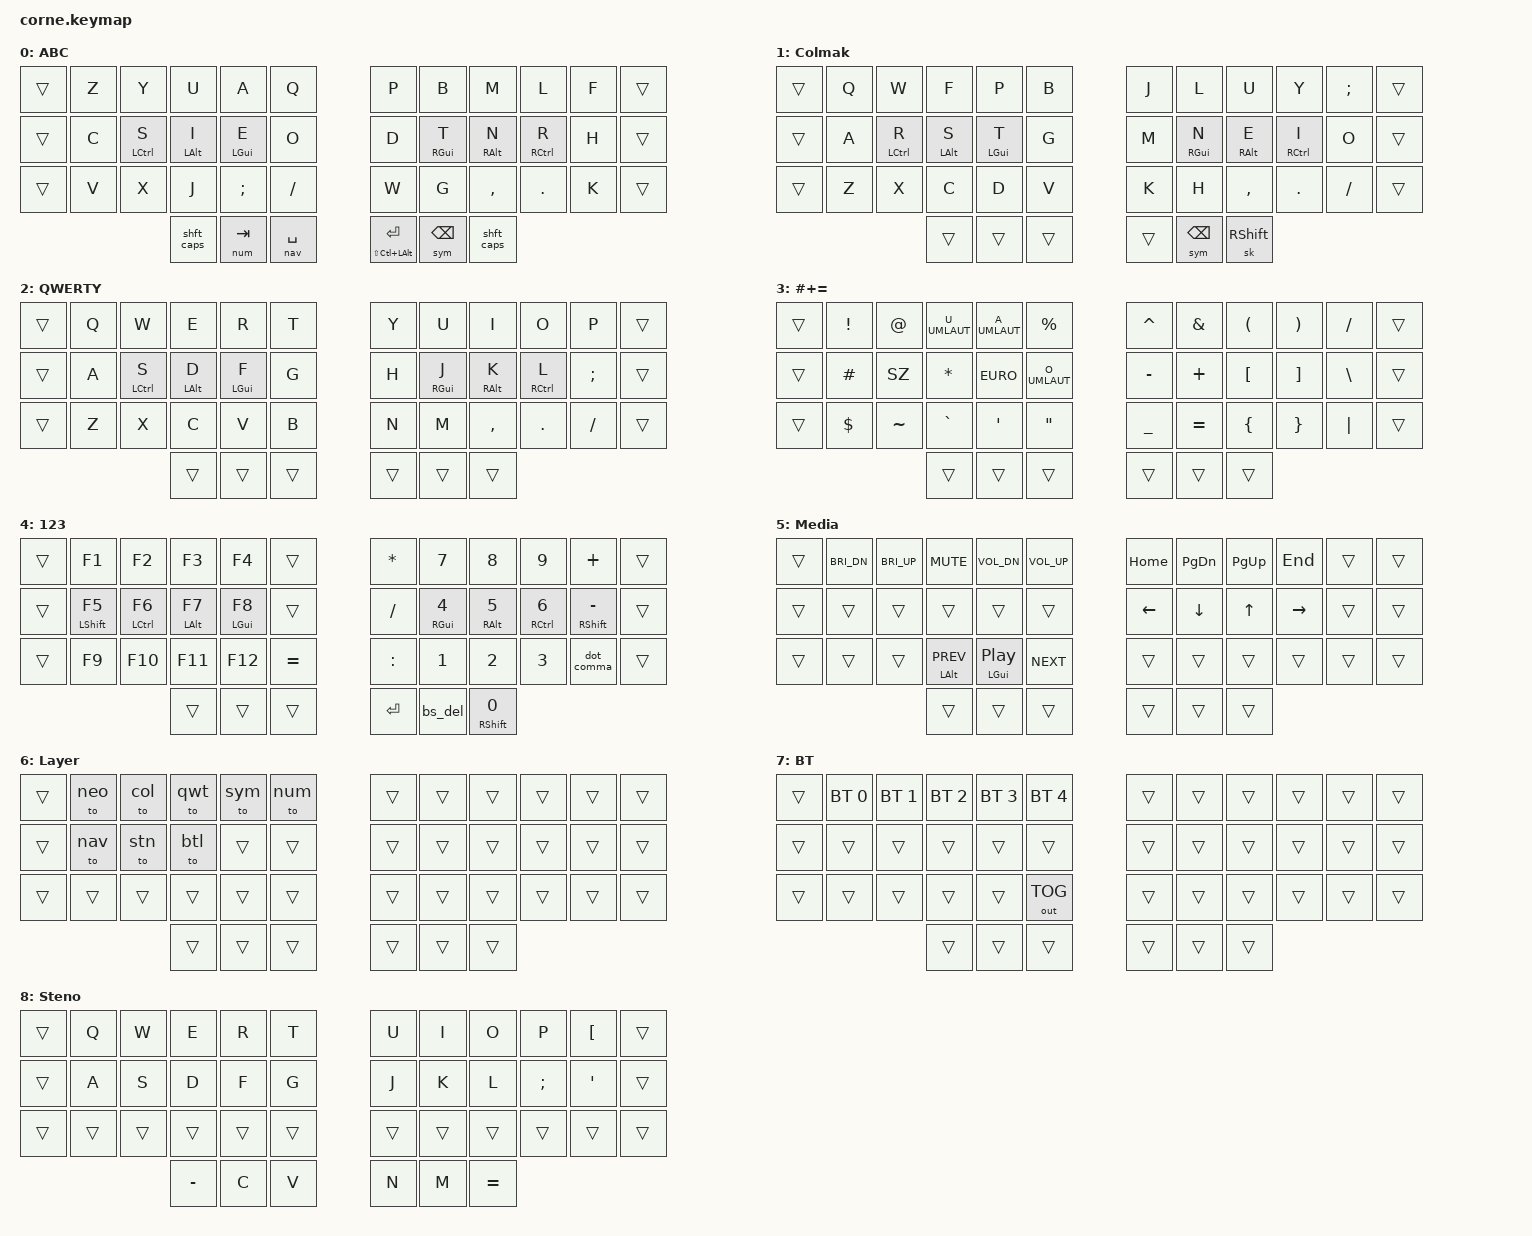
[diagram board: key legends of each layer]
/*
 * Copyright (c) 2020 The ZMK Contributors
 *
 * SPDX-License-Identifier: MIT
 */

#include <behaviors.dtsi>
#include <dt-bindings/zmk/keys.h>
#include <dt-bindings/zmk/bt.h>
#include <dt-bindings/zmk/outputs.h>
#include "zmk-helpers/helper.h"
#include "zmk-helpers/key-labels/42.h"

#define ___ &trans
#define MEH LS(LC(LALT))
#define HYP LS(LC(LA(LGUI)))

#define neo 0
#define col 1
#define qwt 2
#define sym 3
#define num 4
#define nav 5
#define lay 6
#define btl 7
#define stn 8

&mt {
    tapping-term-ms = <220>;
    quick-tap-ms = <220>;
    flavor = "tap-preferred";
};
&lt {
    tapping-term-ms = < 200>;
    flavor = "balanced";
};
&sk {
    release-after-ms = <800>;
    quick-release;
};

// tap: backspace | shift + tap: delete
ZMK_BEHAVIOR(bs_del, mod_morph,
    bindings = <&kp BSPC>, <&kp DEL>;
    mods = <(MOD_LSFT|MOD_RSFT)>;
)

ZMK_BEHAVIOR(dot_comma, mod_morph,
    bindings = <&kp DOT>, <&kp COMMA>;
    mods = <(MOD_LSFT|MOD_RSFT)>;
)

ZMK_BEHAVIOR(shft_caps, tap_dance,
    tapping-term-ms = <300>;
    bindings = <&sk RSHFT>, <&caps_word>;
)

ZMK_COMBO(esc, &kp ESC, LT4 LT3, ALL, 30)
ZMK_COMBO(studio, &studio_unlock, RT3 RT4, ALL, 30)
ZMK_COMBO(glo2, &kp GLOBE, RH1 RH2, ALL, 40)
ZMK_COMBO(hyp, &kp HYP, RH0 RH1, ALL, 120)

ZMK_COMBO(toglay, &tog lay, LB4 LB3 LB2, ALL, 50)

ZMK_COMBO(power1, &kp C_POWER, LT0 LT1 LT2, ALL, 50)
ZMK_COMBO(power2, &kp C_POWER, RT0 RT1 RT2, ALL, 50)
ZMK_COMBO(kb_power_1, &soft_off, LT4 LM4 LB4, ALL, 50)
ZMK_COMBO(kb_power_2, &soft_off, RT4 RM4 RB4, ALL, 50)
ZMK_COMBO(btlayer, &mo btl, LH1 LH2, ALL, 50)
ZMK_COMBO(btrst, &bt BT_CLR, LB0 LB1, btl, 50)

ZMK_COMBO(capsw, &caps_word, LH2 RH2, ALL, 80)

ZMK_MACRO(ael,
    wait-ms = <30>;
    tap-ms = <5>;
    bindings = <&kp LA(U) &kp A>;
)
ZMK_BEHAVIOR(aeu, macro,
    wait-ms = <30>;
    tap-ms = <5>;
    bindings = <&kp LA(U) &kp LS(A)>;
)
ZMK_MOD_MORPH(A_UMLAUT,
    bindings = <&ael>, <&aeu>;
    mods = <(MOD_LSFT|MOD_RSFT)>;
)

ZMK_BEHAVIOR(oel, macro,
    wait-ms = <30>;
    tap-ms = <5>;
    bindings = <&kp LA(U) &kp O>;
)
ZMK_BEHAVIOR(oeu, macro,
    wait-ms = <30>;
    tap-ms = <5>;
    bindings = <&kp LA(U) &kp LS(O)>;
)
ZMK_MOD_MORPH(O_UMLAUT,
    bindings = <&oel>, <&oeu>;
    mods = <(MOD_LSFT|MOD_RSFT)>;
)

ZMK_BEHAVIOR(uel, macro,
    wait-ms = <30>;
    tap-ms = <5>;
    bindings = <&kp LA(U) &kp U>;
)
ZMK_BEHAVIOR(ueu, macro,
    wait-ms = <30>;
    tap-ms = <5>;
    bindings = <&kp LA(U) &kp LS(U)>;
)
ZMK_MOD_MORPH(U_UMLAUT,
    bindings = <&uel>, <&ueu>;
    mods = <(MOD_LSFT|MOD_RSFT)>;
)

ZMK_BEHAVIOR(SZ, macro,
    wait-ms = <30>;
    tap-ms = <5>;
    bindings = <&kp LA(S)>;
)
ZMK_BEHAVIOR(EURO, macro,
    wait-ms = <30>;
    tap-ms = <5>;
    bindings = <&kp LA(LS(N2))>;
)


&soft_off {
    split-peripheral-off-on-press;
};

/ {
        behaviors {
            lt_qt: layer_tap_quick_tap {
                compatible = "zmk,behavior-hold-tap";
                label = "LAYER_TAP_QUICK_TAP";
                #binding-cells = <2>;
                bindings = <&mo>, <&kp>;
                tapping-term-ms = <200>;
                quick-tap-ms = <200>;
                flavor = "hold-preferred";
            };
        };

        keymap {
                compatible = "zmk,keymap";

                neo_layer {
//  ╭─────────────────────┬─────────────────────╮
//  │  Z   Y   U   A   Q  |  P   B   M   L   F  │
//  │  C   S   I   E   O  │  D   T   N   R   H  │
//  │  V   X   J   ;   /  |  W   G   ,   .   K  │
//  ╰───────╮ Esc Tab Spc │ Ret Bck Sft ╭───────╯
//          ╰─────────────┴─────────────╯
                        label = "ABC";
                        bindings = <
// ╭─────────────┬─────────────┬─────────────┬─────────────┬─────────────╮   ╭─────────────┬─────────────┬─────────────┬─────────────┬─────────────╮
___     &kp Z         &kp Y        &kp U          &kp A        &kp Q              &kp P         &kp B         &kp M         &kp L        &kp F      ___
// ├─────────────┼─────────────┼─────────────┼─────────────┼─────────────┤   ├─────────────┼─────────────┼─────────────┼─────────────┼─────────────┤
___     &kp C      &mt LCTRL S   &mt LALT I    &mt LGUI E      &kp O              &kp D       &mt RGUI T   &mt RALT N    &mt RCTRL R     &kp H      ___
// ├─────────────┼─────────────┼─────────────┼─────────────┼─────────────┤   ├─────────────┼─────────────┼─────────────┼─────────────┼─────────────┤
___     &kp V         &kp X        &kp J         &kp SEMI     &kp SLASH           &kp W         &kp G      &kp COMMA       &kp DOT       &kp K      ___
// ╰───────────────────────────┼─────────────┼─────────────┼─────────────┤   ├─────────────┼─────────────┼─────────────┼───────────────────────────╯
                                 &shft_caps    &lt num TAB  &lt_qt nav SPACE  &mt MEH RET  &lt_qt sym BSPC   &shft_caps
//                             ╰─────────────┴─────────────┴─────────────╯   ╰─────────────┴─────────────┴─────────────╯
                        >;
                };

                col_layer {
                        label = "Colmak";
//  ╭─────────────────────┬─────────────────────╮
//  │  Z   Y   U   A   Q  |  P   B   M   L   F  │
//  │  C   S   I   E   O  │  D   T   N   R   H  │
//  │  V   X   J   ;   /  |  W   G   ,   .   K  │
//  ╰───────╮ Sft Tab Spc │ Ret Bck Sft ╭───────╯
//          ╰─────────────┴─────────────╯
                        bindings = <
    ___  &kp Q      &kp W        &kp F       &kp P       &kp B           &kp J       &kp L       &kp U       &kp Y        &kp SEMI   ___
    ___  &kp A      &mt LCTRL R  &mt LALT S  &mt LGUI T  &kp G           &kp M       &mt RGUI N  &mt RALT E  &mt RCTRL I  &kp O      ___
    ___  &kp Z      &kp X        &kp C       &kp D       &kp V           &kp K       &kp H       &kp COMMA   &kp DOT      &kp SLASH  ___
                                            ___   ___   ___            ___   &lt_qt sym BSPC   &sk RSHFT
                        >;
                };

                qwert_layer {
                        label = "QWERTY";
//  ╭─────────────────────┬─────────────────────╮
//  │  Q   W   E   R   T  │  Y   U   I   O   P  |
//  |  A   S   D   F   G  |  H   J   K   L   ;  |
//  |  Z   X   C   V   B  |  N   M   ,   .   /  |
//  ╰───────╮ Sft Tab Spc │ Ret Bck Sft ╭───────╯
//          ╰─────────────┴─────────────╯
                        bindings = <
   ___  &kp Q    &kp W       &kp E       &kp R       &kp T         &kp Y  &kp U       &kp I       &kp O        &kp P     ___
   ___  &kp A    &mt LCTRL S &mt LALT D  &mt LGUI F  &kp G         &kp H  &mt RGUI J  &mt RALT K  &mt RCTRL L  &kp SEMI  ___
   ___  &kp Z    &kp X       &kp C       &kp V       &kp B         &kp N  &kp M       &kp COMMA   &kp DOT      &kp FSLH  ___
                                        ___   ___   ___             ___   ___   ___
                        >;
                };

                raise_layer {
                        label = "#+=";
//  ╭─────────────────────┬─────────────────────╮
//  │  !   @   Ü   Ä   %  │  ^   &   (   )   /  |
//  |  #   ß   *   €   Ö  |  -   +   [   ]   \  |
//  |  $   ~   `   '   "  |  _   =   {   }   |  |
//  ╰───────╮ Sft Tab Spc │ Ret Bck Sft ╭───────╯
//          ╰─────────────┴─────────────╯
                        bindings = <
   ___  &kp EXCL   &kp AT      &U_UMLAUT   &A_UMLAUT   &kp PRCNT     &kp CARET  &kp AMPS   &kp LPAR  &kp RPAR  &kp FSLH  ___
   ___  &kp HASH   &SZ         &kp STAR    &EURO       &O_UMLAUT     &kp MINUS  &kp PLUS   &kp LBKT  &kp RBKT  &kp BSLH  ___
   ___  &kp DLLR   &kp TILDE   &kp GRAVE   &kp SQT     &kp DQT       &kp UNDER  &kp EQUAL  &kp LBRC  &kp RBRC  &kp PIPE  ___
                                             ___  ___  ___     ___  ___  ___
                        >;
                };

                num_layer {
                        label = "123";
//  ╭─────────────────────┬─────────────────────╮
//  │  F1  F2  F3  F4  ae  │  *   7   8   9   +  |
//  |  F5  F6  F7  F8 aemm |  /   4   5   6   -  |
//  |  F9 F10 F11 F12  =  |  :   1   2   3   ., |
//  ╰───────╮ Sft Tab Spc │ Ret Bck  0  ╭───────╯
//          ╰─────────────┴─────────────╯
                        bindings = <
   ___  &kp F1        &kp F2        &kp F3       &kp F4       ___              &kp STAR   &kp N7       &kp N8       &kp N9        &kp PLUS         ___
   ___  &mt LSHFT F5  &mt LCTRL F6  &mt LALT F7  &mt LGUI F8  ___              &kp FSLH   &mt RGUI N4  &mt RALT N5  &mt RCTRL N6  &mt RSHFT MINUS  ___
   ___  &kp F9        &kp F10       &kp F11      &kp F12      &kp EQUAL        &kp COLON  &kp N1       &kp N2       &kp N3        &dot_comma       ___
                                                       ___  ___  ___              &kp RET   &bs_del   &mt RSHFT N0
                        >;
                };

                nav_layer {
                        label = "Media";
//  ╭─────────────────────┬─────────────────────╮
//  │ 🔅  🔆  🔇  🔉  🔊 │ 🏡  ⤴️  ⤵️  🔚     |
//  |         ⏮️  ⏯️  ⏭️ | ⬅️  ⬇️  ⬆️  ➡️     |
//  |                     |                     |
//  ╰───────╮ Sft Tab Spc │ Ret Bck Sft ╭───────╯
//          ╰─────────────┴─────────────╯
                        bindings = <
   ___  &kp C_BRI_DN    &kp C_BRI_UP    &kp C_MUTE        &kp C_VOL_DN    &kp C_VOL_UP        &kp HOME   &kp PAGE_DOWN  &kp PAGE_UP  &kp END    ___  ___
   ___  ___             ___             ___               ___             ___                 &kp LEFT   &kp DOWN       &kp UP       &kp RIGHT  ___  ___
   ___  ___             ___             &mt LALT C_PREV   &mt LGUI C_PP   &kp C_NEXT          ___        ___            ___          ___        ___  ___
                                                                    ___  ___  ___     ___  ___  ___
                        >;
                };

                layer_layer {
                        label = "Layer";
//  ╭───────────────────────────┬───────────────────────────╮
//  │  Neo  Col  Qwe  Sym  Num  │                           |
//  |  Nav  Stn  Tem            |                           |
//  |                           |                           |
//  ╰───────╮                   │                   ╭───────╯
//          ╰───────────────────┴───────────────────╯
                        bindings = <
   ___  &to neo  &to col  &to qwt  &to sym  &to num         ___    ___    ___    ___    ___  ___
   ___  &to nav  &to stn  &to btl  ___      ___             ___    ___    ___    ___    ___  ___
   ___  ___      ___      ___      ___      ___             ___    ___    ___    ___    ___  ___
                                        ___  ___  ___     ___  ___  ___
                        >;
                };

                bt_layer {
                        label = "BT";
//  ╭─────────────────────┬─────────────────────╮
//  │ BT1 BT2 BT3 BT4 BT5 │                     |
//  |                     |                     |
//  |                 OUT |                     |
//  ╰───────╮ Sft Tab Spc │ Ret Bck Sft ╭───────╯
//          ╰─────────────┴─────────────╯
                        bindings = <
    ___  &bt BT_SEL 0   &bt BT_SEL 1   &bt BT_SEL 2   &bt BT_SEL 3   &bt BT_SEL 4        ___  ___  ___  ___  ___  ___
    ___  ___            ___            ___            ___            ___                 ___  ___  ___  ___  ___  ___
    ___  ___            ___            ___            ___            &out OUT_TOG        ___  ___  ___  ___  ___  ___
                                                                 ___  ___  ___     ___  ___  ___
                        >;
                };


                steno_layer {
                        label = "Steno";
//  ╭─────────────────────┬─────────────────────╮
//  │  Q   W   E   R   T  │  U   I   O   P   (  |
//  |  A   S   D   F   G  |  J   K   L   ;   '  |
//  |                     |                     |
//  ╰───────╮  -  C   V   │  N   M   =  ╭───────╯
//          ╰─────────────┴─────────────╯
                        bindings = <
   ___  &kp Q    &kp W    &kp E    &kp R    &kp T         &kp U    &kp I    &kp O    &kp P     &kp LBKT  ___
   ___  &kp A    &kp S    &kp D    &kp F    &kp G         &kp J    &kp K    &kp L    &kp SEMI  &kp SQT  ___
   ___  ___      ___      ___      ___      ___           ___      ___      ___      ___      ___  ___
                             &kp MINUS   &kp C    &kp V         &kp N   &kp M   &kp EQUAL
                        >;
                };

        };
};
